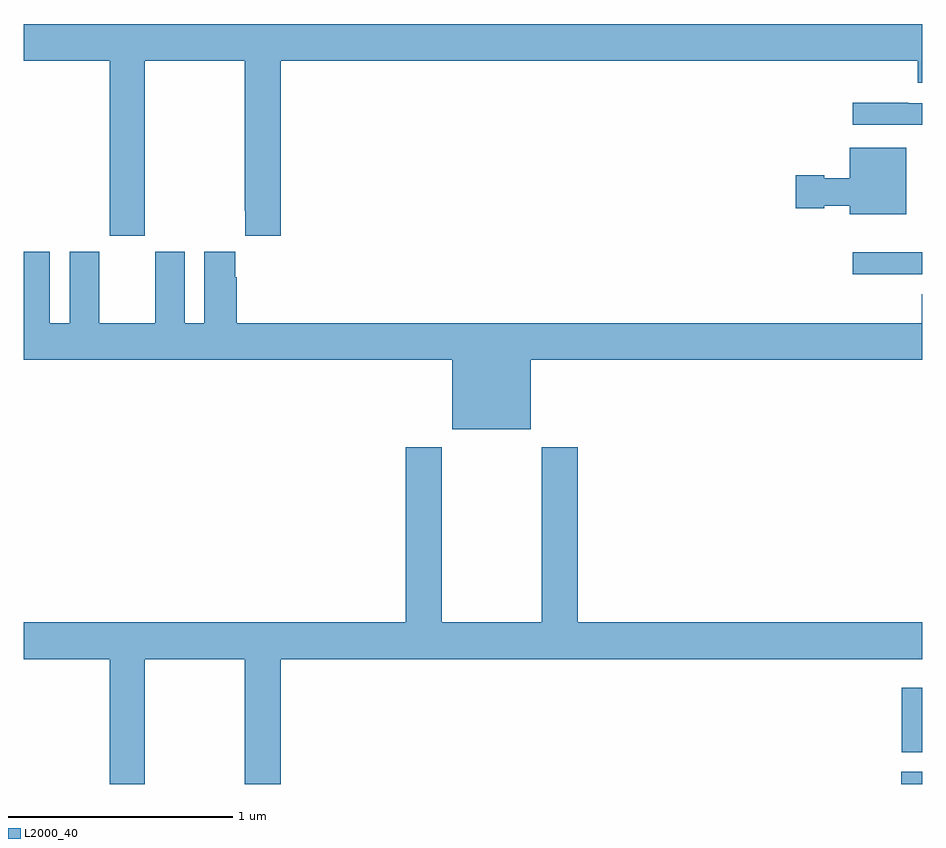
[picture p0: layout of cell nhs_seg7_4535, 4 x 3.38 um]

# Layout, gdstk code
import gdstk
lib = gdstk.Library(unit=1e-6, precision=1e-09)
def R(c, l, rs):  # rectangles x0, y0, x1, y1
    for r in rs: c.add(gdstk.rectangle(r[:2], r[2:], *l))
def P(c, l, *ps):  # polygons
    for p in ps: c.add(gdstk.Polygon(p, *l))
L2000_40 = (2000, 40)

nhs_seg7_4535 = lib.new_cell('nhs_seg7_4535')
R(nhs_seg7_4535, L2000_40, [(398.906,1060,399,1060.054), (398.909,1060.142,399,1060.429)])
P(nhs_seg7_4535, L2000_40, [(395.538,1063.22),(395.983,1063.22),(395.983,1062.553),(395.987,1062.553),(395.987,1062.441),(396.143,1062.441),(396.143,1063.22),(398.981,1063.22),(398.981,1063.122),(399,1063.122),(399,1063.384),(395,1063.384),(395,1063.22),(395.383,1063.22),(395.383,1062.441),(395.538,1062.441)],
  [(399,1063.032),(398.937,1063.032),(398.937,1063.034),(398.691,1063.034),(398.691,1062.936),(399,1062.936)],
  [(398.929,1062.832),(398.678,1062.832),(398.678,1062.697),(398.565,1062.697),(398.565,1062.71),(398.436,1062.71),(398.436,1062.563),(398.565,1062.563),(398.565,1062.575),(398.678,1062.575),(398.678,1062.536),(398.929,1062.536)],
  [(397.258,1061.888),(399,1061.888),(399,1062.181),(398.999,1062.181),(398.999,1062.052),(395.948,1062.052),(395.948,1062.257),(395.941,1062.257),(395.941,1062.37),(395.804,1062.37),(395.804,1062.052),(395.716,1062.052),(395.716,1062.37),(395.585,1062.37),(395.585,1062.052),(395.335,1062.052),(395.335,1062.37),(395.204,1062.37),(395.204,1062.052),(395.116,1062.052),(395.116,1062.37),(395,1062.37),(395,1061.888),(396.908,1061.888),(396.908,1061.579),(397.258,1061.579)],
  [(398.903,1062.27),(399,1062.27),(399,1062.367),(398.691,1062.367),(398.691,1062.269),(398.903,1062.269)],
  [(395.538,1060.556),(395.983,1060.556),(395.983,1060),(396.143,1060),(396.143,1060.556),(399,1060.556),(399,1060.72),(397.466,1060.72),(397.466,1061.5),(397.306,1061.5),(397.306,1060.72),(396.861,1060.72),(396.861,1061.5),(396.701,1061.5),(396.701,1060.72),(395,1060.72),(395,1060.556),(395.383,1060.556),(395.383,1060),(395.538,1060)])

lib.write_gds('nhs_seg7_4535.gds')
